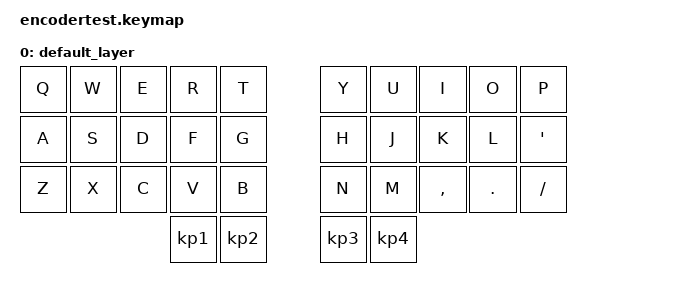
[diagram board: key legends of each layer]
/*
 * Copyright (c) 2020 The ZMK Contributors
 *
 * SPDX-License-Identifier: MIT
 */

#include <behaviors.dtsi>
#include <dt-bindings/zmk/keys.h>
#include <dt-bindings/zmk/bt.h>


/ { 

        keymap {
                compatible = "zmk,keymap";
                
       		default_layer {
		bindings = <
		&kp Q &kp W &kp E &kp R &kp T 						&kp Y &kp U  &kp I    &kp O   &kp P 
		&kp A &kp S &kp D &kp F &kp G 			      &kp H &kp J &kp K &kp L &kp QUOT
		&kp Z &kp X &kp C &kp V &kp B				      &kp N &kp M  &kp CMMA &kp DOT &kp SLASH
    &kp KP_N1 &kp KP_N2                       &kp KP_N3 &kp KP_N4 
		>;
		};

      sensor-bindings = <&inc_dec_kp A B &inc_dec_kp PG_UP PG_DN>;
	};
};
